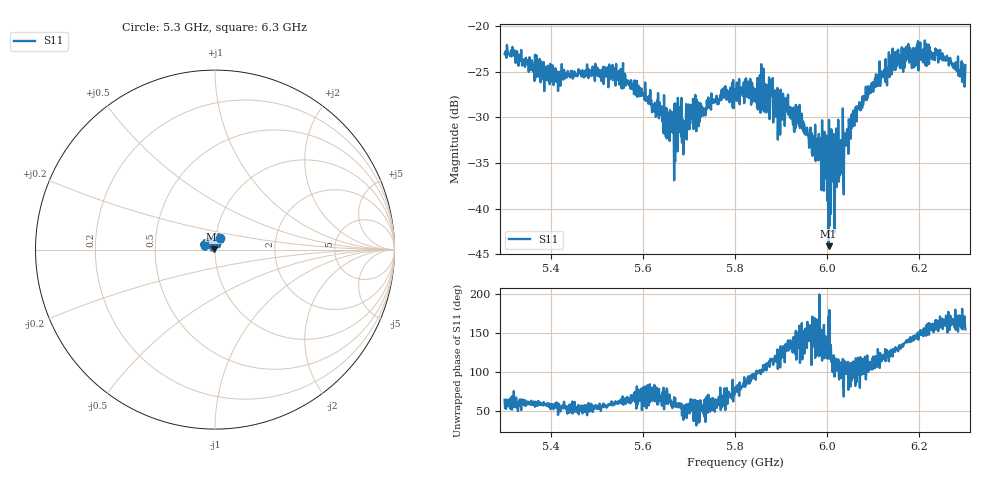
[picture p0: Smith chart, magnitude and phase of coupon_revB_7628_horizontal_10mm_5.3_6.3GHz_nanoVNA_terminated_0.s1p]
! NanoVNA-App
! Date: 2026-11-01 18:29:28
! Start: 5,3GHz Stop: 6,3GHz Points: 1001
! S-Parameter data: F S11
# Hz S RI R 50
!  Frequency  S11_Real  S11_Imag
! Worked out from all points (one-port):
!   1001 points, 5.3 GHz to 6.3 GHz, reference 50 ohm
!   lowest |S11| = -44.1 dB at 6.003 GHz (marker M1), VSWR 1.01, Z = 49.4 + j0.0937 ohm
!   |S11| at or under -10 dB: start of sweep to end of sweep
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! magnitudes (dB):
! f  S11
! 5.3 GHz  -23.1
! 5.425 GHz  -25.8
! 5.55 GHz  -25.5
! 5.636 GHz  -28.3
! 5.67 GHz  -34.9
! 5.675 GHz  -33.7
! 5.681 GHz  -28.9
! 5.69 GHz  -30.5
! 5.704 GHz  -28.6
! 5.776 GHz  -26.8
! 5.8 GHz  -27.4
! 5.862 GHz  -24.7
! 5.925 GHz  -30.3
! 5.984 GHz  -32.3
! 5.998 GHz  -35.2
! 5.999 GHz  -32.0
! 6.003 GHz  -44.1
! 6.008 GHz  -40.6
! 6.009 GHz  -31.3
! 6.013 GHz  -35.7
! 6.021 GHz  -37.6
! 6.024 GHz  -30.3
! 6.031 GHz  -36.1
! 6.05 GHz  -31.1
! 6.109 GHz  -25.4
! 6.175 GHz  -23.1
! 6.24 GHz  -22.7
! 6.3 GHz  -24.3
